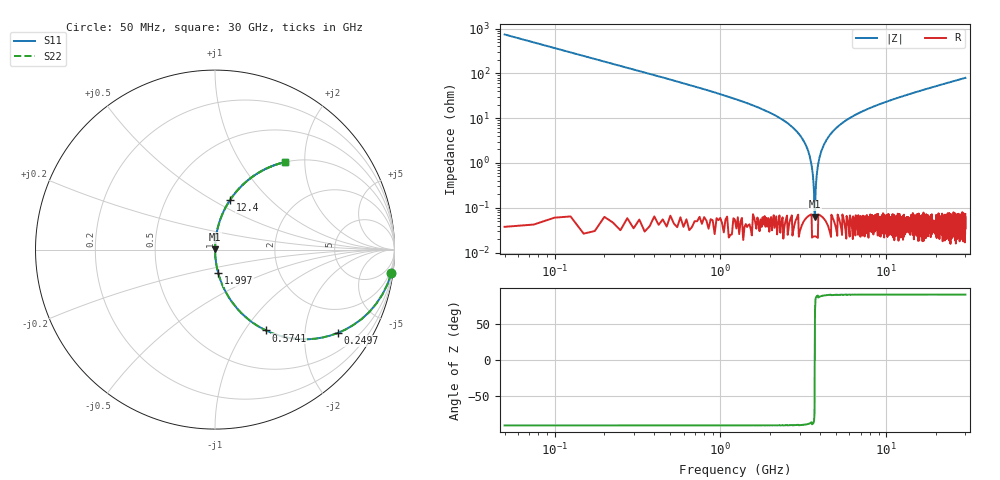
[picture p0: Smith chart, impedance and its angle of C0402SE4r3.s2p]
!	AVX Thin Film Operation 	Date: April 2014
!	Description: Accu-P® Series, Thin Film  SMD RF Capacitor
!	Part Number: 04025J4R3ABSTR
# MHZ S MA R 50
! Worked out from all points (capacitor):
!   1201 points, 50 MHz to 30 GHz, reference 50 ohm
!   read as one part in series: C = 4.3 pF near 199.8 MHz
!   lowest |Z| = 63.3 mohm at 3.719 GHz (marker M1)
!   series resonance near 3.708 GHz, so ESL is about 430 pH
!   S11 on the Smith chart (normalised r, x): 50 MHz: 1, -15; 249.7 MHz: 1.00, -2.95; 574.1 MHz: 1.00, -1.26; 1.997 GHz: 1.00, -0.26; 12.4 GHz: 1.00, +0.61; 30 GHz: 1.00, +1.59
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50  0.991 -7.7  0.134 82.3  0.134 82.3  0.991 -7.7
249.667  0.828 -34.1  0.561 55.9  0.561 55.9  0.828 -34.1
574.125  0.532 -57.8  0.846 32.2  0.846 32.2  0.532 -57.8
1048.333  0.309 -71.9  0.951 18.0  0.951 18.0  0.309 -71.9
1996.75  0.13 -82.3  0.991 7.5  0.991 7.5  0.13 -82.3
2720.542  0.063 -86.0  0.998 3.6  0.998 3.6  0.063 -86.0
3194.75  0.03 -87.4  0.999 1.7  0.999 1.7  0.03 -87.4
3419.375  0.016 -87.4  0.999 0.9  0.999 0.9  0.016 -87.4
3594.083  0.006243 -85.4  1 0.4  1 0.4  0.006243 -85.4
3718.875  0.0007451 51.8  1 -0.0  1 -0.0  0.0007451 51.8
3818.708  0.005891 85.2  1 -0.3  1 -0.3  0.005891 85.2
3968.458  0.014 87.3  0.999 -0.8  0.999 -0.8  0.014 87.3
4143.167  0.022 87.5  0.999 -1.3  0.999 -1.3  0.022 87.5
4492.583  0.039 87.1  0.999 -2.2  0.999 -2.2  0.039 87.1
5041.667  0.062 86.0  0.998 -3.6  0.998 -3.6  0.062 86.0
6913.542  0.131 82.3  0.991 -7.5  0.991 -7.5  0.131 82.3
10058.29  0.228 76.7  0.973 -13.2  0.973 -13.2  0.228 76.7
12404.38  0.291 73.0  0.956 -16.9  0.956 -16.9  0.291 73.0
15025  0.355 69.1  0.934 -20.8  0.934 -20.8  0.355 69.1
20016.67  0.461 62.5  0.887 -27.5  0.887 -27.5  0.461 62.5
25033.29  0.55 56.6  0.835 -33.4  0.835 -33.4  0.55 56.6
30000  0.622 51.5  0.782 -38.5  0.782 -38.5  0.622 51.5
